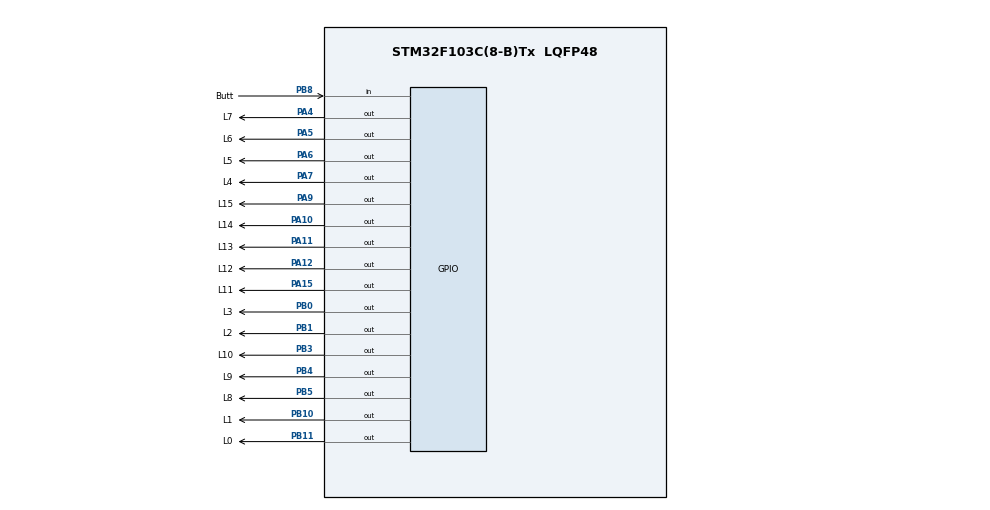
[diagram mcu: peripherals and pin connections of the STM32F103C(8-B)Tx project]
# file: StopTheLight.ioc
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Mcu.Family=STM32F1
Mcu.Name=STM32F103C(8-B)Tx
Mcu.Package=LQFP48
NVIC.PriorityGroup=NVIC_PRIORITYGROUP_4
PA10.GPIO_Label=L14
PA10.Signal=GPIO_Output
PA11.GPIO_Label=L13
PA11.Signal=GPIO_Output
PA12.GPIO_Label=L12
PA12.Signal=GPIO_Output
PA15.GPIO_Label=L11
PA15.Signal=GPIO_Output
PA4.GPIO_Label=L7
PA4.Signal=GPIO_Output
PA5.GPIO_Label=L6
PA5.Signal=GPIO_Output
PA6.GPIO_Label=L5
PA6.Signal=GPIO_Output
PA7.GPIO_Label=L4
PA7.Signal=GPIO_Output
PA9.GPIO_Label=L15
PA9.Signal=GPIO_Output
PB0.GPIO_Label=L3
PB0.Signal=GPIO_Output
PB1.GPIO_Label=L2
PB1.Signal=GPIO_Output
PB10.GPIO_Label=L1
PB10.Signal=GPIO_Output
PB11.GPIO_Label=L0
PB11.Signal=GPIO_Output
PB3.GPIO_Label=L10
PB3.Signal=GPIO_Output
PB4.GPIO_Label=L9
PB4.Signal=GPIO_Output
PB5.GPIO_Label=L8
PB5.Signal=GPIO_Output
PB8.GPIO_Label=Butt
PB8.Signal=GPIO_Input
ProjectManager.HeapSize=0x200
ProjectManager.StackSize=0x400
ProjectManager.TargetToolchain=STM32CubeIDE
RCC.APB1Freq_Value=8000000
RCC.APB2Freq_Value=8000000
VP_SYS_VS_ND.Mode=No_Debug
board=custom

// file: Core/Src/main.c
/* USER CODE BEGIN Header */
/**
  ******************************************************************************
  * @file           : main.c
  * @brief          : Main program body
  ******************************************************************************
  * @attention
  *
  * Copyright (c) 2022 STMicroelectronics.
  * All rights reserved.
  *
  * This software is licensed under terms that can be found in the LICENSE file
  * in the root directory of this software component.
  * If no LICENSE file comes with this software, it is provided AS-IS.
  *
  ******************************************************************************
  */
/* USER CODE END Header */
#include "main.h"

void SystemClock_Config(void);
static void MX_GPIO_Init(void);
void win(void);
void lose(void);

/* USER CODE BEGIN 0 */
int delay = 30;
GPIO_TypeDef * alpha[] = {GPIOB, GPIOB, GPIOB, GPIOA, GPIOA, GPIOA, GPIOA,
		  	  	  	  	  GPIOB, GPIOB, GPIOB, GPIOA, GPIOA, GPIOA, GPIOA, GPIOA, GPIOB};
uint16_t pin[] = {L1_Pin, L2_Pin, L3_Pin, L4_Pin, L5_Pin, L6_Pin, L7_Pin,
		          L8_Pin, L9_Pin, L10_Pin, L11_Pin, L12_Pin, L13_Pin, L14_Pin, L15_Pin, L0_Pin};
/* USER CODE END 0 */

int main(void)
{

  /* MCU Configuration--------------------------------------------------------*/

  /* Reset of all peripherals, Initializes the Flash interface and the Systick. */
  HAL_Init();

  /* Configure the system clock */
  SystemClock_Config();

  /* Initialize all configured peripherals */
  MX_GPIO_Init();

  /* Infinite loop */
  /* USER CODE BEGIN WHILE */
  for (int i=0; i<16; i++){
	  HAL_GPIO_WritePin(alpha[i], pin[i], GPIO_PIN_SET);
  }
  while (1)
  {
	  for (int i=0; i<16; i++){
		  HAL_GPIO_WritePin(alpha[i], pin[i], GPIO_PIN_RESET);
		  for (int j=0; j<delay; j++){
			  if (HAL_GPIO_ReadPin(GPIOB, GPIO_PIN_8) == GPIO_PIN_RESET){
				  HAL_Delay(30);
				  HAL_GPIO_WritePin(alpha[i], pin[i], GPIO_PIN_SET);
				  if (i==15){
					  win();
				  }
				  else{
					  lose();
				  }
			  }
			  HAL_Delay(1);
		  }
		  HAL_GPIO_WritePin(alpha[i], pin[i], GPIO_PIN_SET);
	  }
    /* USER CODE END WHILE */

  }
}

void SystemClock_Config(void)
{
  RCC_OscInitTypeDef RCC_OscInitStruct = {0};
  RCC_ClkInitTypeDef RCC_ClkInitStruct = {0};

  /** Initializes the RCC Oscillators according to the specified parameters
  * in the RCC_OscInitTypeDef structure.
  */
  RCC_OscInitStruct.OscillatorType = RCC_OSCILLATORTYPE_HSI;
  RCC_OscInitStruct.HSIState = RCC_HSI_ON;
  RCC_OscInitStruct.HSICalibrationValue = RCC_HSICALIBRATION_DEFAULT;
  RCC_OscInitStruct.PLL.PLLState = RCC_PLL_NONE;
  if (HAL_RCC_OscConfig(&RCC_OscInitStruct) != HAL_OK)
  {
    Error_Handler();
  }

  /** Initializes the CPU, AHB and APB buses clocks
  */
  RCC_ClkInitStruct.ClockType = RCC_CLOCKTYPE_HCLK|RCC_CLOCKTYPE_SYSCLK
                              |RCC_CLOCKTYPE_PCLK1|RCC_CLOCKTYPE_PCLK2;
  RCC_ClkInitStruct.SYSCLKSource = RCC_SYSCLKSOURCE_HSI;
  RCC_ClkInitStruct.AHBCLKDivider = RCC_SYSCLK_DIV1;
  RCC_ClkInitStruct.APB1CLKDivider = RCC_HCLK_DIV1;
  RCC_ClkInitStruct.APB2CLKDivider = RCC_HCLK_DIV1;

  if (HAL_RCC_ClockConfig(&RCC_ClkInitStruct, FLASH_LATENCY_0) != HAL_OK)
  {
    Error_Handler();
  }
}

static void MX_GPIO_Init(void)
{
  GPIO_InitTypeDef GPIO_InitStruct = {0};

  /* GPIO Ports Clock Enable */
  __HAL_RCC_GPIOA_CLK_ENABLE();
  __HAL_RCC_GPIOB_CLK_ENABLE();

  /*Configure GPIO pin Output Level */
  HAL_GPIO_WritePin(GPIOA, L7_Pin|L6_Pin|L5_Pin|L4_Pin
                          |L15_Pin|L14_Pin|L13_Pin|L12_Pin
                          |L11_Pin, GPIO_PIN_RESET);

  /*Configure GPIO pin Output Level */
  HAL_GPIO_WritePin(GPIOB, L3_Pin|L2_Pin|L1_Pin|L0_Pin
                          |L10_Pin|L9_Pin|L8_Pin, GPIO_PIN_RESET);

  /*Configure GPIO pins : L7_Pin L6_Pin L5_Pin L4_Pin
                           L15_Pin L14_Pin L13_Pin L12_Pin
                           L11_Pin */
  GPIO_InitStruct.Pin = L7_Pin|L6_Pin|L5_Pin|L4_Pin
                          |L15_Pin|L14_Pin|L13_Pin|L12_Pin
                          |L11_Pin;
  GPIO_InitStruct.Mode = GPIO_MODE_OUTPUT_PP;
  GPIO_InitStruct.Pull = GPIO_NOPULL;
  GPIO_InitStruct.Speed = GPIO_SPEED_FREQ_LOW;
  HAL_GPIO_Init(GPIOA, &GPIO_InitStruct);

  /*Configure GPIO pins : L3_Pin L2_Pin L1_Pin L0_Pin
                           L10_Pin L9_Pin L8_Pin */
  GPIO_InitStruct.Pin = L3_Pin|L2_Pin|L1_Pin|L0_Pin
                          |L10_Pin|L9_Pin|L8_Pin;
  GPIO_InitStruct.Mode = GPIO_MODE_OUTPUT_PP;
  GPIO_InitStruct.Pull = GPIO_NOPULL;
  GPIO_InitStruct.Speed = GPIO_SPEED_FREQ_LOW;
  HAL_GPIO_Init(GPIOB, &GPIO_InitStruct);

  /*Configure GPIO pin : Butt_Pin */
  GPIO_InitStruct.Pin = Butt_Pin;
  GPIO_InitStruct.Mode = GPIO_MODE_INPUT;
  GPIO_InitStruct.Pull = GPIO_NOPULL;
  HAL_GPIO_Init(Butt_GPIO_Port, &GPIO_InitStruct);

}

/* USER CODE BEGIN 4 */
void win(void){
	for (int i=0; i<16; i++){
		HAL_GPIO_WritePin(alpha[i], pin[i], GPIO_PIN_RESET);
		HAL_Delay(250);
	}
	for (int i=0; i<16; i++){
		HAL_GPIO_WritePin(alpha[i], pin[i], GPIO_PIN_SET);
	}
	for (int i=0; i<16; i++){
		HAL_GPIO_WritePin(alpha[i], pin[i], GPIO_PIN_RESET);
		HAL_Delay(100);
	}
	for (int i=0; i<16; i++){
		HAL_GPIO_WritePin(alpha[i], pin[i], GPIO_PIN_SET);
	}
	for (int i=0; i<16; i++){
		HAL_GPIO_WritePin(alpha[i], pin[i], GPIO_PIN_RESET);
		HAL_Delay(30);
	}
	for (int i=0; i<16; i++){
		HAL_GPIO_WritePin(alpha[i], pin[i], GPIO_PIN_SET);
	}
	for (int i=0; i<16; i++){
		HAL_GPIO_WritePin(alpha[i], pin[i], GPIO_PIN_RESET);
		HAL_Delay(30);
	}
	for (int i=0; i<16; i++){
		HAL_GPIO_WritePin(alpha[i], pin[i], GPIO_PIN_SET);
	}
	for (int i=0; i<16; i++){
		HAL_GPIO_WritePin(alpha[i], pin[i], GPIO_PIN_RESET);
		HAL_Delay(30);
	}
	while (HAL_GPIO_ReadPin(GPIOB, GPIO_PIN_8) == GPIO_PIN_RESET){}
	HAL_Delay(100);
	while(1){
		if (HAL_GPIO_ReadPin(GPIOB, GPIO_PIN_8) == GPIO_PIN_RESET){
			HAL_Delay(30);
			while (HAL_GPIO_ReadPin(GPIOB, GPIO_PIN_8) == GPIO_PIN_RESET){}
			HAL_Delay(200);
			main();
		}
	}
}

void lose(void){
	for (int i=0; i<16; i++){
		HAL_GPIO_WritePin(alpha[i], pin[i], GPIO_PIN_RESET);
	}
	HAL_Delay(750);
	for (int i=0; i<16; i++){
		HAL_GPIO_WritePin(alpha[i], pin[i], GPIO_PIN_SET);
		HAL_Delay(750-(46*i));
	}
	while (HAL_GPIO_ReadPin(GPIOB, GPIO_PIN_8) == GPIO_PIN_RESET){}
	HAL_Delay(100);
	while(1){
		if (HAL_GPIO_ReadPin(GPIOB, GPIO_PIN_8) == GPIO_PIN_RESET){
			HAL_Delay(30);
			while (HAL_GPIO_ReadPin(GPIOB, GPIO_PIN_8) == GPIO_PIN_RESET){}
			HAL_Delay(200);
			main();
		}
	}
}

/* USER CODE END 4 */

void Error_Handler(void)
{
  __disable_irq();
  while (1)
  {
  }
}
